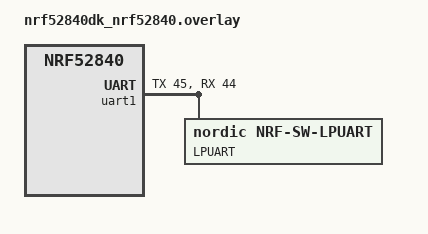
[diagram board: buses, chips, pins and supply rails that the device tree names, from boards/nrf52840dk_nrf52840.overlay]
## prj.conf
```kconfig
#
# Copyright (c) 2020 Nordic Semiconductor
#
# SPDX-License-Identifier: LicenseRef-Nordic-5-Clause
#
CONFIG_NRF_SW_LPUART=y
# CONFIG_UART_ASYNC_API=y

# Sample is showing low power capabilities of low power uart module thus
# console/logging uart is disabled.
# Uncomment this section for debugging. Additionally, comment uart0 disabling
# in overlay.

CONFIG_USE_SEGGER_RTT=n
CONFIG_LOG=y
CONFIG_NO_OPTIMIZATIONS=n
CONFIG_ASSERT=y

# Comment this section for debugging
# CONFIG_CONSOLE=n
# CONFIG_UART_CONSOLE=n

# Uncomment to use lpuart using interrupt driven API
# CONFIG_NRF_SW_LPUART_INT_DRIVEN=y
```

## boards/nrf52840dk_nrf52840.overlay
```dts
/* SPDX-License-Identifier: LicenseRef-Nordic-5-Clause */

&uart1 {
	rx-pin = <44>;
	tx-pin = <45>;
	/delete-property/ rts-pin;
	/delete-property/ cts-pin;

	lpuart: nrf-sw-lpuart {
		compatible = "nordic,nrf-sw-lpuart";
		status = "okay";
		label = "LPUART";
		req-pin = <46>;
		rdy-pin = <47>;
	};
};
```

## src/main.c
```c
/*
 * Copyright (c) 2020 Nordic Semiconductor ASA
 *
 * SPDX-License-Identifier: LicenseRef-Nordic-5-Clause
 */

#include <zephyr.h>
#include <logging/log.h>
#include <drivers/uart.h>

LOG_MODULE_REGISTER(app);

#define BUF_SIZE 64
#if IS_ENABLED(CONFIG_NRF_SW_LPUART)
#define DEV_NAME	"LPUART"
#else
#define DEV_NAME	"UART_1"
#endif

static K_MEM_SLAB_DEFINE(uart_slab, BUF_SIZE, 3, 4);

static void uart_irq_handler(const struct device *dev, void *context)
{
	uint8_t buf[] = {6, 7, 8, 9, 10};

	if (uart_irq_tx_ready(dev)) {
		(void)uart_fifo_fill(dev, buf, sizeof(buf));
		uart_irq_tx_disable(dev);
	}

	if (uart_irq_rx_ready(dev)) {
		uint8_t buf[10];
		int len = uart_fifo_read(dev, buf, sizeof(buf));

		if (len) {
			printk("read %d bytes\n", len);
		}
	}
}

static void interrupt_driven(const struct device *dev)
{
	uint8_t c = 0xff;

	uart_irq_callback_set(dev, uart_irq_handler);
	uart_irq_rx_enable(dev);
	while (1) {
		uart_irq_tx_enable(dev);
		k_sleep(K_MSEC(500));

		uart_poll_out(dev, c);
		k_sleep(K_MSEC(100));
	}
}

static void uart_callback(const struct device *dev,
			  struct uart_event *evt,
			  void *user_data)
{
	struct device *uart = user_data;
	int err;

	switch (evt->type) {
	case UART_TX_DONE:
		LOG_INF("Tx sent %d bytes", evt->data.tx.len);
		break;

	case UART_TX_ABORTED:
		LOG_ERR("Tx aborted");
		break;

	case UART_RX_RDY:
		LOG_INF("Received data %d bytes", evt->data.rx.len);
		break;

	case UART_RX_BUF_REQUEST:
	{
		uint8_t *buf;

		err = k_mem_slab_alloc(&uart_slab, (void **)&buf, K_NO_WAIT);
		__ASSERT(err == 0, "Failed to allocate slab");

		err = uart_rx_buf_rsp(uart, buf, BUF_SIZE);
		__ASSERT(err == 0, "Failed to provide new buffer");
		break;
	}

	case UART_RX_BUF_RELEASED:
		k_mem_slab_free(&uart_slab, (void **)&evt->data.rx_buf.buf);
		break;

	case UART_RX_DISABLED:
		break;

	case UART_RX_STOPPED:
		break;
	}
}

static void async(const struct device *lpuart)
{
	uint8_t txbuf[5] = {1, 2, 3, 4, 5};
	int err;
	uint8_t *buf;

	err = k_mem_slab_alloc(&uart_slab, (void **)&buf, K_NO_WAIT);
	__ASSERT(err == 0, "Failed to alloc slab");

	err = uart_callback_set(lpuart, uart_callback, (void *)lpuart);
	__ASSERT(err == 0, "Failed to set callback");

	err = uart_rx_enable(lpuart, buf, BUF_SIZE, 10);
	__ASSERT(err == 0, "Failed to enable RX");

	while (1) {
		err = uart_tx(lpuart, txbuf, sizeof(txbuf), 10);
		__ASSERT(err == 0, "Failed to initiate transmission");

		k_sleep(K_MSEC(500));

		uart_poll_out(lpuart, txbuf[0]);
		k_sleep(K_MSEC(100));
	}
}

void main(void)
{
	const struct device *lpuart;

	k_msleep(1000);

	lpuart = device_get_binding(DEV_NAME);
	__ASSERT(lpuart, "Failed to get the device");

	if (IS_ENABLED(CONFIG_NRF_SW_LPUART_INT_DRIVEN) || !IS_ENABLED(CONFIG_UART_ASYNC_API)) {
		interrupt_driven(lpuart);
	} else {
		async(lpuart);
	}
}
```
